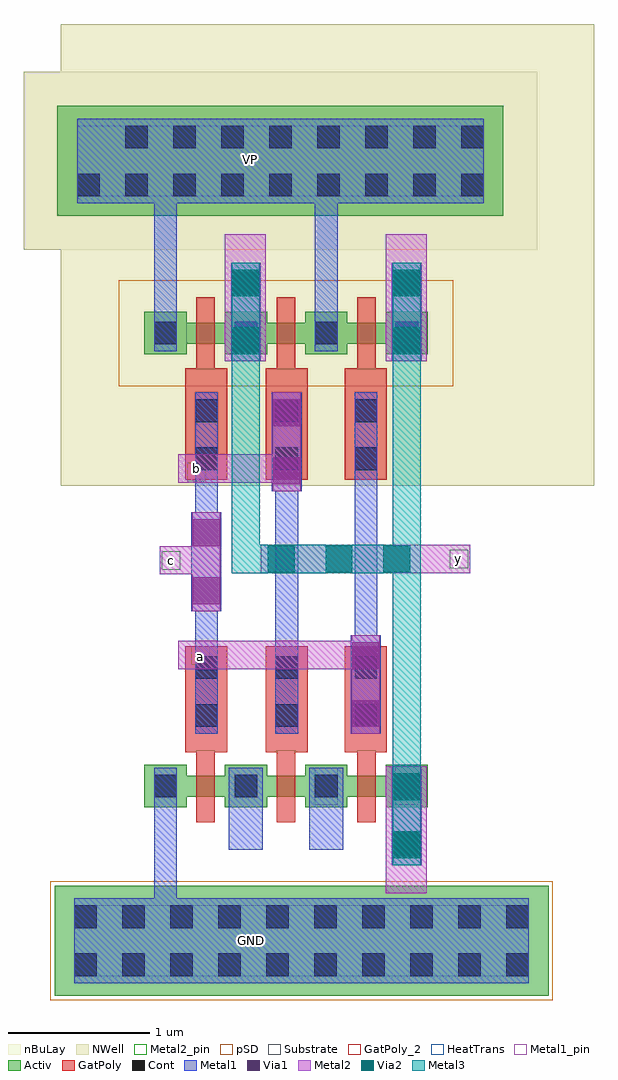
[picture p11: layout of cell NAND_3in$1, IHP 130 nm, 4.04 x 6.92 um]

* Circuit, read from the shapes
.subckt NAND_3in$1 GND VP a b c y
XM1 n1 c GND GND sg13_lv_nmos w=0.15u l=0.13u
XM2 n2 b n1 GND sg13_lv_nmos w=0.15u l=0.13u
XM3 y a n2 GND sg13_lv_nmos w=0.15u l=0.13u
XM4 y c VP VP sg13_lv_pmos w=0.15u l=0.13u
XM5 VP b y VP sg13_lv_pmos w=0.15u l=0.13u
XM6 y a VP VP sg13_lv_pmos w=0.15u l=0.13u
.ends

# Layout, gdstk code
from math import pi, radians
import gdstk
lib = gdstk.Library(unit=1e-6, precision=1e-09)
def R(c, l, rs):  # rectangles x0, y0, x1, y1
    for r in rs: c.add(gdstk.rectangle(r[:2], r[2:], *l))
def A(c, l, x, y, w, h, nx, ny, dx, dy):  # array of equal rectangles
    R(c, l, [(x+i*dx, y+j*dy, x+i*dx+w, y+j*dy+h) for i in range(nx) for j in range(ny)])
Activ = (1, 0)
GatPoly = (5, 0)
GatPoly_2 = (5, 2)
Cont = (6, 0)
Metal1 = (8, 0)
Metal1_pin = (8, 2)
Metal2 = (10, 0)
Metal2_pin = (10, 2)
pSD = (14, 0)
Via1 = (19, 0)
Via2 = (29, 0)
Metal3 = (30, 0)
NWell = (31, 0)
nBuLay = (32, 0)
Substrate = (40, 0)
HeatTrans = (51, 0)

via_2_5_1 = lib.new_cell('Via$2$5$1')
R(via_2_5_1, Metal1, [(-0.105,-0.35,0.105,0.35)])
R(via_2_5_1, Metal2, [(-0.1,-0.35,0.1,0.35)])
R(via_2_5_1, Via1, [(-0.095,-0.3,0.095,-0.11), (-0.095,0.11,0.095,0.3)])

via_3_5_1 = lib.new_cell('Via$3$5$1')
R(via_3_5_1, Metal2, [(-0.1,-0.35,0.1,0.35)])
R(via_3_5_1, Via2, [(-0.095,-0.3,0.095,-0.11), (-0.095,0.11,0.095,0.3)])
R(via_3_5_1, Metal3, [(-0.1,-0.35,0.1,0.35)])

via_5_5 = lib.new_cell('Via$5$5')
R(via_5_5, Metal2, [(-0.1,-0.555,0.1,0.555)])
A(via_5_5, Via2, -0.095, -0.505, 0.19, 0.19, 1, 3, 0, 0.41)
R(via_5_5, Metal3, [(-0.1,-0.555,0.1,0.555)])

ntap_1 = lib.new_cell('ntap$1')
R(ntap_1, Activ, [(-0.665,-0.22,0.115,0.56)])
R(ntap_1, Cont, [(-0.525,-0.08,-0.365,0.08), (-0.525,0.26,-0.365,0.42), (-0.185,0.26,-0.025,0.42)])
R(ntap_1, Metal1, [(-0.525,-0.13,-0.025,0.47)])
R(ntap_1, Metal1_pin, [(-0.525,-0.08,-0.025,0.42)])
R(ntap_1, NWell, [(-0.905,-0.46,0.355,0.8)])
R(ntap_1, nBuLay, [(-0.905,-0.46,0.355,0.8)])

ptap_1 = lib.new_cell('ptap$1')
R(ptap_1, Activ, [(-0.425,-1.215,0.355,-0.435)])
R(ptap_1, Cont, [(-0.285,-1.075,-0.125,-0.915), (0.055,-1.075,0.215,-0.915), (-0.285,-0.735,-0.125,-0.575), (0.055,-0.735,0.215,-0.575)])
R(ptap_1, Metal1, [(-0.285,-1.125,0.215,-0.525)])
R(ptap_1, Metal1_pin, [(-0.285,-1.075,0.215,-0.575)])
R(ptap_1, pSD, [(-0.455,-1.245,0.385,-0.405)])

nmos_9_1 = lib.new_cell('nmos$9$1')
A(nmos_9_1, Activ, 0, 0, 0.3, 0.3, 4, 1, 0.57, 0)
R(nmos_9_1, Activ, [(0,0.075,2.01,0.225)])
A(nmos_9_1, GatPoly, 0.37, -0.105, 0.13, 0.51, 3, 1, 0.57, 0)
R(nmos_9_1, GatPoly_2, [(0.37,-0.105,0.5,0.405)])
A(nmos_9_1, Cont, 0.07, 0.07, 0.16, 0.16, 4, 1, 0.57, 0)
A(nmos_9_1, Metal1, 0.07, 0.02, 0.16, 0.26, 4, 1, 0.57, 0)
R(nmos_9_1, Metal1_pin, [(0.07,0.02,0.23,0.28), (0.64,0.02,0.8,0.28)])
A(nmos_9_1, HeatTrans, 0.37, -0.105, 0.13, 0.51, 3, 1, 0.57, 0)
nmos_9_1.add(gdstk.Label('nmos', (0.435,0.15), layer=63, texttype=0))
nmos_9_1.add(gdstk.Label('nmos', (0.435,0.15), layer=51, texttype=0))
nmos_9_1.add(gdstk.Label('nmos', (1.005,0.15), layer=51, texttype=0))
nmos_9_1.add(gdstk.Label('nmos', (1.575,0.15), layer=51, texttype=0))

via_4_5 = lib.new_cell('Via$4$5')
R(via_4_5, GatPoly, [(-0.32,-0.15,0.32,0.15)])
R(via_4_5, Cont, [(-0.25,-0.08,-0.09,0.08), (0.09,-0.08,0.25,0.08)])
R(via_4_5, Metal1, [(-0.3,-0.08,0.3,0.08)])

pmos_8_1 = lib.new_cell('pmos$8$1')
A(pmos_8_1, Activ, 0, 0, 0.3, 0.3, 4, 1, 0.57, 0)
R(pmos_8_1, Activ, [(0,0.075,2.01,0.225)])
A(pmos_8_1, GatPoly, 0.37, -0.105, 0.13, 0.51, 3, 1, 0.57, 0)
R(pmos_8_1, GatPoly, [(0.37,-0.105,0.5,0.405)])
A(pmos_8_1, Cont, 0.07, 0.07, 0.16, 0.16, 4, 1, 0.57, 0)
A(pmos_8_1, Metal1, 0.64, 0.02, 0.16, 0.26, 3, 1, 0.57, 0)
R(pmos_8_1, Metal1, [(0.07,0.02,0.23,0.28), (0.07,0.02,0.23,0.28), (0.64,0.02,0.8,0.28)])
R(pmos_8_1, pSD, [(-0.18,-0.225,2.19,0.525)])
R(pmos_8_1, NWell, [(-0.31,-0.31,2.32,0.61)])
R(pmos_8_1, Substrate, [(1.71,0,2.01,0.3)])
A(pmos_8_1, HeatTrans, 0.37, -0.105, 0.13, 0.51, 3, 1, 0.57, 0)
pmos_8_1.add(gdstk.Label('pmos', (0.435,0.15), layer=63, texttype=0))
pmos_8_1.add(gdstk.Label('pmos', (0.435,0.15), layer=51, texttype=0))
pmos_8_1.add(gdstk.Label('pmos', (1.005,0.15), layer=51, texttype=0))
pmos_8_1.add(gdstk.Label('pmos', (1.575,0.15), layer=51, texttype=0))

nand_3in_1 = lib.new_cell('NAND_3in$1')
R(nand_3in_1, GatPoly, [(0.11,-2.53,0.24,-2.42), (0.68,-2.53,0.81,-2.42), (0.03,-2.51,0.33,-2.4), (0.6,-2.51,0.9,-2.4), (1.16,-2.51,1.46,-2.4), (0.03,0.06,0.33,0.21), (0.6,0.06,0.9,0.21), (1.16,0.06,1.46,0.21), (0.68,0.16,0.81,0.25), (1.25,0.16,1.38,0.25)])
R(nand_3in_1, Metal1, [(-0.19,-3.655,-0.03,-2.875), (0.34,-3.2,0.58,-2.94), (0.91,-3.2,1.15,-2.94), (0.34,-2.96,0.58,-2.62), (0.91,-2.96,1.15,-2.62), (0.67,-2.21,0.83,-1.27), (1.23,-2.21,1.39,-1.27), (0.1,-1.91,0.26,-0.56), (0.67,-1.31,0.83,-0.37), (1.23,-1.31,1.39,-0.37), (0.95,0.48,1.11,0.68), (-0.19,0.49,-0.03,0.63), (-0.19,0.595,-0.03,1.47), (0.95,0.595,1.11,1.42)])
R(nand_3in_1, Metal1_pin, [(0.435,-3.91,0.565,-3.78), (0.425,1.63,0.555,1.76)])
R(nand_3in_1, Metal2, [(1.45,-3.51,1.74,-3.31), (1.45,-3.31,1.74,-2.61), (-0.02,-1.92,0.41,-1.72), (0.41,-1.92,0.84,-1.72), (0.81,-1.92,1.24,-1.72), (-0.15,-1.25,0.28,-1.05), (1.62,-1.24,2.05,-1.04), (-0.02,-0.6,0.41,-0.4), (0.41,-0.6,0.84,-0.4), (0.31,0.26,0.6,0.46), (1.45,0.26,1.74,0.46), (0.31,0.46,0.6,1.16), (1.45,0.46,1.74,1.16)])
R(nand_3in_1, Metal2_pin, [(0.075,-1.89,0.205,-1.76), (-0.135,-1.215,-0.005,-1.085), (1.905,-1.205,2.035,-1.075), (0.045,-0.59,0.175,-0.46)])
R(nand_3in_1, Metal3, [(1.5,-2.62,1.7,-2.42), (1.5,-2.45,1.7,-1.04), (0.36,-1.24,0.56,-0.97), (0.38,-1.24,0.565,-1.04), (1.5,-1.09,1.7,0.17), (0.36,-0.97,0.56,0.26), (1.5,0.1,1.7,0.2), (1.5,0.19,1.7,0.35)])
R(nand_3in_1, NWell, [(-0.85,-0.62,2.93,2.65)])
nand_3in_1.add(gdstk.Reference(via_2_5_1, (1.31,-2.03), rotation=pi))
nand_3in_1.add(gdstk.Reference(via_3_5_1, (1.6,0.61), rotation=pi))
nand_3in_1.add(gdstk.Reference(via_2_5_1, (1.6,0.61), rotation=pi))
nand_3in_1.add(gdstk.Reference(via_3_5_1, (1.6,-2.96), rotation=pi))
nand_3in_1.add(gdstk.Reference(via_2_5_1, (1.6,-2.96), rotation=pi))
nand_3in_1.add(gdstk.Reference(via_2_5_1, (0.75,-0.31), rotation=pi))
nand_3in_1.add(gdstk.Reference(via_5_5, (1.12,-1.14), rotation=3*pi/2))
nand_3in_1.add(gdstk.Reference(ntap_1, (1.62,1.85), rotation=pi))
nand_3in_1.add(gdstk.Reference(ntap_1, (1.28,1.85), rotation=pi))
nand_3in_1.add(gdstk.Reference(ntap_1, (0.94,1.85), rotation=pi))
nand_3in_1.add(gdstk.Reference(ntap_1, (0.6,1.85), rotation=pi))
nand_3in_1.add(gdstk.Reference(ntap_1, (0.26,1.85), rotation=pi))
nand_3in_1.add(gdstk.Reference(ntap_1, (-0.08,1.85), rotation=pi))
nand_3in_1.add(gdstk.Reference(ptap_1, (1.84,-4.67), rotation=pi))
nand_3in_1.add(gdstk.Reference(ptap_1, (1.5,-4.67), rotation=pi))
nand_3in_1.add(gdstk.Reference(ptap_1, (1.16,-4.67), rotation=pi))
nand_3in_1.add(gdstk.Reference(ptap_1, (0.82,-4.67), rotation=pi))
nand_3in_1.add(gdstk.Reference(ptap_1, (0.48,-4.67), rotation=pi))
nand_3in_1.add(gdstk.Reference(ptap_1, (0.14,-4.67), rotation=pi))
nand_3in_1.add(gdstk.Reference(nmos_9_1, (1.75,-2.6), rotation=pi))
nand_3in_1.add(gdstk.Reference(via_4_5, (1.31,-2.08), rotation=3*pi/2))
nand_3in_1.add(gdstk.Reference(via_4_5, (0.75,-2.08), rotation=3*pi/2))
nand_3in_1.add(gdstk.Reference(via_4_5, (0.75,-0.26), rotation=3*pi/2))
nand_3in_1.add(gdstk.Reference(via_4_5, (1.31,-0.26), rotation=3*pi/2))
nand_3in_1.add(gdstk.Reference(pmos_8_1, (1.75,0.61), rotation=pi))
nand_3in_1.add(gdstk.Reference(via_4_5, (0.18,-2.08), rotation=3*pi/2))
nand_3in_1.add(gdstk.Reference(via_4_5, (0.18,-0.26), rotation=3*pi/2))
nand_3in_1.add(gdstk.Reference(via_2_5_1, (0.18,-1.16), rotation=pi))
nand_3in_1.add(gdstk.Reference(ntap_1, (-0.42,1.85), rotation=pi))
nand_3in_1.add(gdstk.Reference(ntap_1, (-0.76,1.85), rotation=pi))
nand_3in_1.add(gdstk.Reference(ptap_1, (-0.2,-4.67), rotation=pi))
nand_3in_1.add(gdstk.Reference(ptap_1, (-0.54,-4.67), rotation=pi))
nand_3in_1.add(gdstk.Reference(ptap_1, (2.18,-4.67), rotation=pi))
nand_3in_1.add(gdstk.Reference(via_3_5_1, (0.46,0.61), rotation=pi))
nand_3in_1.add(gdstk.Reference(via_2_5_1, (0.46,0.61), rotation=pi))
nand_3in_1.add(gdstk.Label('VP', (0.49,1.69), layer=8, texttype=25))
nand_3in_1.add(gdstk.Label('GND', (0.5,-3.84), layer=8, texttype=25))
nand_3in_1.add(gdstk.Label('a', (0.14,-1.83), layer=10, texttype=25))
nand_3in_1.add(gdstk.Label('b', (0.11,-0.5), layer=10, texttype=25))
nand_3in_1.add(gdstk.Label('y', (1.97,-1.14), layer=10, texttype=25))
nand_3in_1.add(gdstk.Label('c', (-0.07,-1.15), layer=10, texttype=25))

lib.write_gds('NAND_3in_1.gds')
